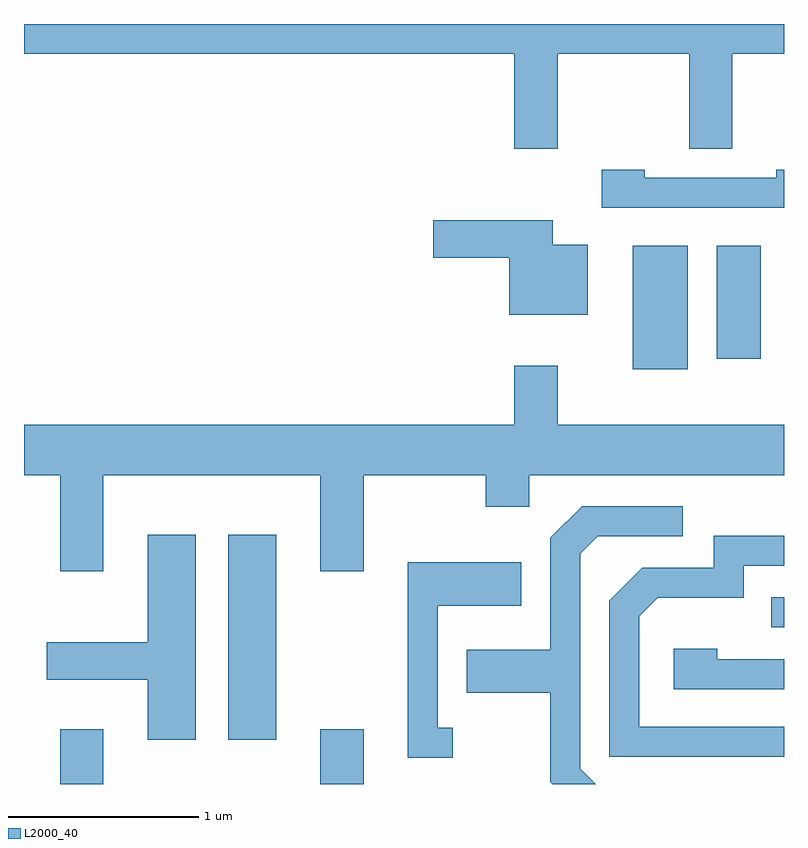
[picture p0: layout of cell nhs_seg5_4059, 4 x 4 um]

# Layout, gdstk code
import gdstk
lib = gdstk.Library(unit=1e-6, precision=1e-09)
def R(c, l, rs):  # rectangles x0, y0, x1, y1
    for r in rs: c.add(gdstk.rectangle(r[:2], r[2:], *l))
def P(c, l, *ps):  # polygons
    for p in ps: c.add(gdstk.Polygon(p, *l))
L2000_40 = (2000, 40)

nhs_seg5_4059 = lib.new_cell('nhs_seg5_4059')
R(nhs_seg5_4059, L2000_40, [(305.801,1444.072,306.029,1444.359), (307.171,1444.072,307.399,1444.359), (306.686,1444.306,306.939,1445.384), (309.543,1444.896,309.611,1445.054), (308.816,1446.256,309.104,1446.904), (309.256,1446.311,309.489,1446.904)])
P(nhs_seg5_4059, L2000_40, [(308.419,1447.916),(309.111,1447.916),(309.111,1447.416),(309.339,1447.416),(309.339,1447.916),(309.611,1447.916),(309.611,1448.072),(305.611,1448.072),(305.611,1447.916),(308.191,1447.916),(308.191,1447.416),(308.419,1447.416)],
  [(309.611,1447.304),(309.571,1447.304),(309.571,1447.264),(308.879,1447.264),(308.879,1447.304),(308.651,1447.304),(308.651,1447.106),(309.611,1447.106)],
  [(308.579,1446.909),(308.394,1446.909),(308.394,1447.039),(307.766,1447.039),(307.766,1446.841),(308.166,1446.841),(308.166,1446.541),(308.579,1446.541)],
  [(306.029,1445.696),(307.171,1445.696),(307.171,1445.191),(307.399,1445.191),(307.399,1445.696),(308.041,1445.696),(308.041,1445.531),(308.269,1445.531),(308.269,1445.696),(309.611,1445.696),(309.611,1445.964),(308.419,1445.964),(308.419,1446.274),(308.191,1446.274),(308.191,1445.964),(305.611,1445.964),(305.611,1445.696),(305.801,1445.696),(305.801,1445.191),(306.029,1445.191)],
  [(308.539,1444.152),(308.539,1445.284),(308.632,1445.376),(309.078,1445.376),(309.078,1445.534),(308.549,1445.534),(308.381,1445.367),(308.381,1444.779),(307.941,1444.779),(307.941,1444.551),(308.381,1444.551),(308.381,1444.084),(308.393,1444.072),(308.619,1444.072)],
  [(306.514,1445.384),(306.261,1445.384),(306.261,1444.819),(305.731,1444.819),(305.731,1444.621),(306.261,1444.621),(306.261,1444.306),(306.514,1444.306)],
  [(309.611,1444.374),(308.849,1444.374),(308.849,1444.954),(308.947,1445.051),(309.399,1445.051),(309.399,1445.221),(309.611,1445.221),(309.611,1445.379),(309.241,1445.379),(309.241,1445.209),(308.864,1445.209),(308.691,1445.037),(308.691,1444.216),(309.611,1444.216)],
  [(307.868,1444.369),(307.789,1444.369),(307.789,1445.011),(308.229,1445.011),(308.229,1445.239),(307.631,1445.239),(307.631,1444.211),(307.868,1444.211)],
  [(309.611,1444.729),(309.259,1444.729),(309.259,1444.784),(309.031,1444.784),(309.031,1444.571),(309.611,1444.571)])

lib.write_gds('nhs_seg5_4059.gds')
